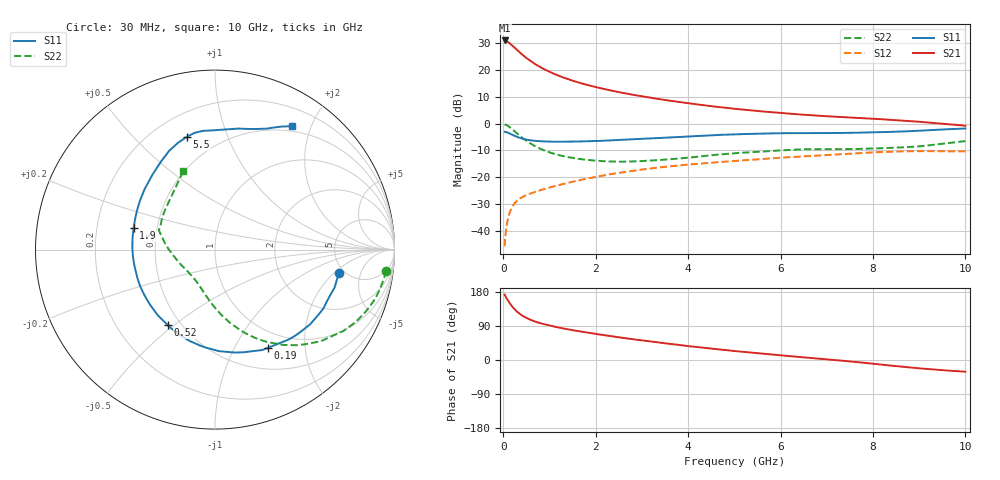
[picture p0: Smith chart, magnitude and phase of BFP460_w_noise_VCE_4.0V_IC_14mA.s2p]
! (c) 2016  Infineon Technologies AG, Munich
! Infineon Technologies  Discrete & RF Semiconductors
! BFP460
! VCE =  4.0 V,  IC =  14 mA
! Common Emitter S-Parameters:  Jan 2016
# GHz  S  MA  R  50
!  f  S11  S21  S12  S22
! GHz  MAG  ANG  MAG  ANG  MAG  ANG  MAG  ANG
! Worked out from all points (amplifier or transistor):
!   229 points, 30 MHz to 10 GHz, reference 50 ohm
!   highest |S21| = 31.1 dB at 30 MHz (marker M1)
!   |S21| within 3 dB of that: start of sweep to 265.7 MHz
!   unconditionally stable (mu >= 1): 2.136 GHz to 7.692 GHz
!   at 280 MHz: K = 0.34, MSG = 28.5 dB, |S12| = -29.2 dB
!   at 1.78 GHz: K = 0.97, MSG = 17.7 dB, |S12| = -20.7 dB
!   at 10 GHz: K = 0.96, MSG = 4.8 dB, |S12| = -10.4 dB
!   lowest NFmin = 1.09 dB at 450 MHz
!   S11 on the Smith chart (normalised r, x): 30 MHz: 4.50, -2.29; 190 MHz: 0.77, -1.37; 520 MHz: 0.43, -0.48; 1.9 GHz: 0.37, +0.11; 5.5 GHz: 0.34, +0.72; 10 GHz: 0.43, +1.71
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0.03  0.7022 -10.6  35.83 172.7  0.0051 82.0  0.9597 -7.1
0.07  0.6867 -24.9  34.77 163.5  0.0118 77.0  0.9366 -16.0
0.12  0.6659 -41.6  32.62 153.8  0.019 70.6  0.8845 -26.6
0.15  0.6473 -50.8  31.12 148.2  0.0228 67.1  0.8464 -32.4
0.19  0.6212 -61.8  29.08 141.9  0.0271 62.9  0.7915 -39.1
0.26  0.5837 -79.3  25.64 132.1  0.0333 57.5  0.7014 -49.4
0.34  0.5481 -95.4  22.12 123.5  0.0385 53.5  0.6096 -58.6
0.45  0.5134 -113.1  18.28 114.3  0.0439 50.3  0.5111 -68.5
0.52  0.4966 -121.8  16.41 110.1  0.0467 49.3  0.4633 -73.2
0.6  0.4855 -130.9  14.58 105.5  0.0497 48.7  0.4175 -78.3
0.7  0.4743 -140.1  12.79 101.0  0.0532 48.4  0.3727 -83.5
0.9  0.4639 -154.4  10.23 93.8  0.0601 48.8  0.3111 -92.0
1.28  0.4583 -173.5  7.38 83.7  0.0737 49.8  0.2481 -104.2
1.7  0.4642 171.5  5.628 74.6  0.0894 49.8  0.2149 -115.0
1.9  0.4689 165.3  5.062 70.8  0.0971 49.5  0.2058 -119.9
2.6  0.498 147.4  3.725 58.2  0.1237 46.6  0.1938 -137.8
3.4  0.5378 131.5  2.846 45.7  0.1519 41.5  0.2089 -157.0
5.1  0.6331 108.0  1.855 22.6  0.2029 30.6  0.2824 172.4
5.5  0.6472 104.1  1.717 18.0  0.2153 28.2  0.2958 168.5
6.8  0.6641 92.9  1.407 3.9  0.2518 19.5  0.3312 160.0
8.4  0.6997 73.8  1.174 -14.9  0.2988 6.1  0.3516 143.9
10  0.8089 58.2  0.912 -30.9  0.302 -6.3  0.4706 112.1
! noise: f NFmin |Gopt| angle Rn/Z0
0.45  1.09  0.04  41  0.14
1.9  1.24  0.11  -165  0.12
3.5  1.23  0.36  -131  0.13
